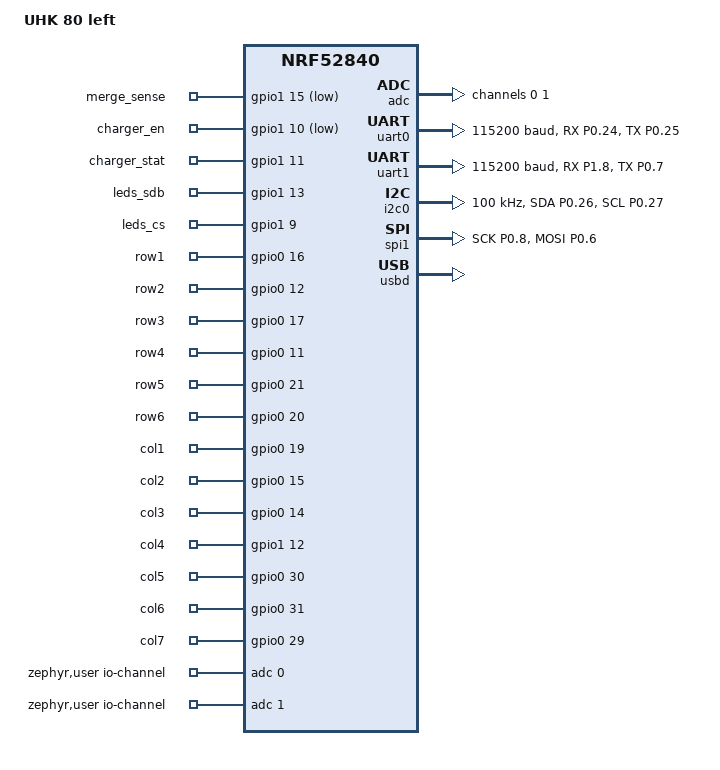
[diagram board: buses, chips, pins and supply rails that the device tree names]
/dts-v1/;
#include <nordic/nrf52840_qiaa.dtsi>

&gpio0 {
    status = "okay";
};

&gpio1 {
    status = "okay";
};

&adc {
	status = "okay";
	#address-cells = <1>;
	#size-cells = <0>;

	channel@0 {
		reg = <0>;
		zephyr,gain = "ADC_GAIN_1_6";
		zephyr,reference = "ADC_REF_INTERNAL";
		zephyr,acquisition-time = <ADC_ACQ_TIME_DEFAULT>;
		zephyr,input-positive = <NRF_SAADC_AIN2>; // TS_ADC
		zephyr,resolution = <12>;
	};

	channel@1 {
		reg = <1>;
		zephyr,gain = "ADC_GAIN_1_6";
		zephyr,reference = "ADC_REF_INTERNAL";
		zephyr,acquisition-time = <ADC_ACQ_TIME_DEFAULT>;
		zephyr,input-positive = <NRF_SAADC_AIN3>; // VBAT_ADC
		zephyr,resolution = <12>;
	};
};

&uart0 {
	compatible = "nordic,nrf-uarte";
	status = "okay";
	current-speed = <115200>;
	pinctrl-0 = <&uart0_default>;
	pinctrl-1 = <&uart0_sleep>;
	pinctrl-names = "default", "sleep";
};

&uart1 {
	compatible = "nordic,nrf-uarte";
	status = "okay";
	current-speed = <115200>;
	pinctrl-0 = <&uart1_default>;
	pinctrl-1 = <&uart1_sleep>;
	pinctrl-names = "default", "sleep";
};

&i2c0 {
    compatible = "nordic,nrf-twim";
    status = "okay";
    pinctrl-0 = <&i2c2_default>;
    pinctrl-1 = <&i2c2_sleep>;
    pinctrl-names = "default", "sleep";
    clock-frequency = <100000>;
};

&pinctrl {
	uart0_default: uart0_default {
		group1 {
			psels = <NRF_PSEL(UART_RX, 0, 24)>;
			bias-pull-up;
		};
		group2 {
			psels = <NRF_PSEL(UART_TX, 0, 25)>;
		};
	};

	uart0_sleep: uart0_sleep {
		group1 {
			psels = <NRF_PSEL(UART_RX, 0, 24)>,
				<NRF_PSEL(UART_TX, 0, 25)>;
			low-power-enable;
		};
	};

    uart1_default: uart1_default {
		group1 {
			psels = <NRF_PSEL(UART_RX, 1, 8)>;
			bias-pull-up;
		};
		group2 {
			psels = <NRF_PSEL(UART_TX, 0, 7)>;
		};
	};

    uart1_sleep: uart1_sleep {
		group1 {
			psels = <NRF_PSEL(UART_RX, 1, 8)>,
				<NRF_PSEL(UART_TX, 0, 7)>;
			low-power-enable;
		};
	};

    spi1_default: spi1_default {
        group1 {
            psels = <NRF_PSEL(SPIM_SCK, 0, 8)>,
                    <NRF_PSEL(SPIM_MOSI, 0, 6)>;
        };
    };

    spi1_sleep: spi1_sleep {
        group1 {
            psels = <NRF_PSEL(SPIM_SCK, 0, 8)>,
                    <NRF_PSEL(SPIM_MOSI, 0, 6)>;
            low-power-enable;
        };
    };

    i2c2_default: i2c2_default {
        group1 {
           psels = <NRF_PSEL(TWIM_SDA, 0, 26)>,
              <NRF_PSEL(TWIM_SCL, 0, 27)>;
              bias-pull-up;
        };
     };
     i2c2_sleep: i2c2_sleep {
        group1 {
           psels = <NRF_PSEL(TWIM_SDA, 0, 26)>,
              <NRF_PSEL(TWIM_SCL, 0, 27)>;
                   low-power-enable;
        };
     };

};

&spi1 {
    compatible = "nordic,nrf-spi";
    status = "okay";
    pinctrl-0 = <&spi1_default>;
    pinctrl-1 = <&spi1_sleep>;
    pinctrl-names = "default", "sleep";
};

/ {
    model = "UHK 80 left";
    compatible = "uhk-80-left";

    chosen {
		zephyr,console = &uart0;
		zephyr,shell-uart = &uart0;
        zephyr,sram = &sram0;
        zephyr,flash = &flash0;
        zephyr,code-partition = &slot0_partition;
    };

    gpios {
        compatible = "gpio-keys";

        merge_sense: merge_sense {
            gpios = <&gpio1 15 (GPIO_ACTIVE_LOW | GPIO_PULL_UP)>;
            label = "merge_sense";
        };

        charger_en: charger_en {
            gpios = <&gpio1 10 GPIO_ACTIVE_LOW>;
            label = "charger_en";
        };
        charger_stat: charger_stat {
            gpios = <&gpio1 11 (GPIO_ACTIVE_HIGH | GPIO_PULL_UP)>;
            label = "charger_stat";
        };

        leds_sdb: leds_sdb {
            gpios = <&gpio1 13 GPIO_ACTIVE_HIGH>;
            label = "leds_sdb";
        };
        leds_cs: leds_cs {
            gpios = <&gpio1 9 GPIO_ACTIVE_HIGH>;
            label = "leds_cs";
        };

        row1: row1 {
            gpios = <&gpio0 16 (GPIO_ACTIVE_HIGH)>;
            label = "row1";
        };
        row2: row2 {
            gpios = <&gpio0 12 (GPIO_ACTIVE_HIGH)>;
            label = "row2";
        };
        row3: row3 {
            gpios = <&gpio0 17 (GPIO_ACTIVE_HIGH)>;
            label = "row3";
        };
        row4: row4 {
            gpios = <&gpio0 11 (GPIO_ACTIVE_HIGH)>;
            label = "row4";
        };
        row5: row5 {
            gpios = <&gpio0 21 (GPIO_ACTIVE_HIGH)>;
            label = "row5";
        };
        row6: row6 {
            gpios = <&gpio0 20 (GPIO_ACTIVE_HIGH)>;
            label = "row6";
        };

        col1: col1 {
           gpios = <&gpio0 19 (GPIO_ACTIVE_HIGH | GPIO_PULL_DOWN)>;
           label = "col1";
        };
        col2: col2 {
            gpios = <&gpio0 15 (GPIO_ACTIVE_HIGH | GPIO_PULL_DOWN)>;
            label = "col2";
        };
        col3: col3 {
            gpios = <&gpio0 14 (GPIO_ACTIVE_HIGH | GPIO_PULL_DOWN)>;
            label = "col3";
        };
        col4: col4 {
            gpios = <&gpio1 12 (GPIO_ACTIVE_HIGH | GPIO_PULL_DOWN)>;
            label = "col4";
        };
        col5: col5 {
            gpios = <&gpio0 30 (GPIO_ACTIVE_HIGH | GPIO_PULL_DOWN)>;
            label = "col5";
        };
        col6: col6 {
            gpios = <&gpio0 31 (GPIO_ACTIVE_HIGH | GPIO_PULL_DOWN)>;
            label = "col6";
        };
        col7: col7 {
            gpios = <&gpio0 29 (GPIO_ACTIVE_HIGH | GPIO_PULL_DOWN)>;
            label = "col7";
        };
    };

    zephyr,user {
		io-channels = <&adc 0>, <&adc 1>;
	};

    aliases {
        merge-sense = &merge_sense;

        charger-en = &charger_en;
        charger-stat = &charger_stat;

        leds-sdb = &leds_sdb;
        leds-cs = &leds_cs;

        row1 = &row1;
        row2 = &row2;
        row3 = &row3;
        row4 = &row4;
        row5 = &row5;
        row6 = &row6;

        col1 = &col1;
        col2 = &col2;
        col3 = &col3;
        col4 = &col4;
        col5 = &col5;
        col6 = &col6;
        col7 = &col7;
    };
};

zephyr_udc0: &usbd {
    compatible = "nordic,nrf-usbd";
    status = "okay";
};

&flash0 {
    partitions {
        compatible = "fixed-partitions";
        #address-cells = <1>;
        #size-cells = <1>;

        boot_partition: partition@0 {
            label = "mcuboot";
            reg = <0x0 0xc000>;
        };
        slot0_partition: partition@c000 {
            label = "image-0";
            reg = <0xc000 0x72000>;
        };
        slot1_partition: partition@7e000 {
            label = "image-1";
            reg = <0x7e000 0x72000>;
        };
        scratch_partition: partition@f0000 {
            label = "image-scratch";
            reg = <0xf0000 0xa000>;
        };
        storage_partition: partition@fa000 {
            label = "storage";
            reg = <0xfa000 0x6000>;
        };
    };
};
